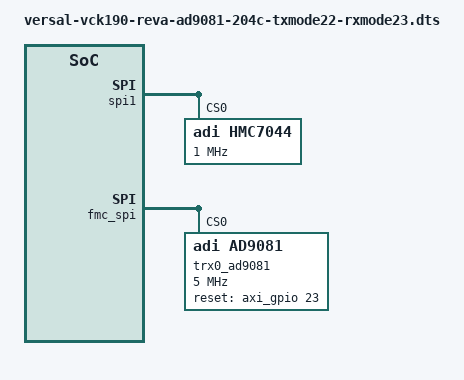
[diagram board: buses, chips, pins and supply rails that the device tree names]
// SPDX-License-Identifier: GPL-2.0
/*
 * Analog Devices AD9081-FMC-EBZ
 * https://wiki.analog.com/resources/tools-software/linux-drivers/iio-mxfe/ad9081
 * https://wiki.analog.com/resources/eval/user-guides/ad9081_fmca_ebz/ad9081_fmca_ebz_hdl
 *
 * hdl_project: <ad9081_fmca_ebz/vck190>
 * board_revision: <>
 *
 * Copyright (C) 2019-2020 Analog Devices Inc.
 */

/*
 * 204C use case with Subclass 0,
 * Med. lane rate, using gearbox and PRGOGDIV
 *   1Txs / 1Rxs per MxFE
 *   DAC_CLK = 11.52 GSPS
 *   ADC_CLK = 3.84 GSPS
 *   Tx I/Q Rate: 960 MSPS (Interpolation of 12x1)
 *   Rx I/Q Rate: 960 MSPS (Decimation of 4x1)
 *   DAC JESD204C: Mode 22, L=2, M=2, N=N'=12
 *   ADC JESD204C: Mode 23.00, L=2, M=2, N=N'=12
 *   DAC-Side JESD204C Lane Rate: 11.88 Gbps
 *   ADC-Side JESD204C Lane Rate: 11.88 Gbps
 */

#include "versal-vck190-reva-ad9081.dts"

/ {
	fpga_axi: fpga-axi@0 {
		clocks {
			rx_fixed_linerate: clock@0 {
				#clock-cells = <0>;
				compatible = "fixed-clock";
				clock-frequency = <11880000>;
				clock-output-names = "rx_lane_clk";
			};

			tx_fixed_linerate: clock@1 {
				#clock-cells = <0>;
				compatible = "fixed-clock";
				clock-frequency = <11880000>;
				clock-output-names = "tx_lane_clk";
			};

			rx_fixed_link_clk: clock@2 {
				#clock-cells = <0>;
				compatible = "fixed-clock";
				clock-frequency = <180000000>;
				clock-output-names = "rx_link_clk";
			};

			tx_fixed_link_clk: clock@3 {
				#clock-cells = <0>;
				compatible = "fixed-clock";
				clock-frequency = <180000000>;
				clock-output-names = "tx_link_clk";
			};
		};
	};
};

&spi1 {
	status = "okay";

	/delete-node/ hmc7044@0;

	hmc7044: hmc7044@0 {
		#address-cells = <1>;
		#size-cells = <0>;
		#clock-cells = <1>;
		compatible = "adi,hmc7044";
		reg = <0>;
		spi-max-frequency = <1000000>;

		jesd204-device;
		#jesd204-cells = <2>;
		jesd204-sysref-provider;

		adi,jesd204-max-sysref-frequency-hz = <2000000>; /* 2 MHz */

		/*
		 * There are different versions of the AD9081-FMCA-EBZ & AD9082-FMCA-EBZ
		 * VCXO = 122.880 MHz, XO = 122.880MHz (AD9081-FMC-EBZ & AD9082-FMC-EBZ)
		 * VCXO = 100.000 MHz, XO = 100.000MHz (AD9081-FMC-EBZ-A2 & AD9082-FMC-EBZ-A2)
		 * To determine which board is which, read the freqency printed on the VCXO
		 * or use the fru-dump utility:
		 * #fru-dump -b /sys/bus/i2c/devices/15-0050/eeprom
		 */

		//adi,pll1-clkin-frequencies = <122880000 30720000 0 0>;
		//adi,vcxo-frequency = <122880000>;

		adi,pll1-clkin-frequencies = <100000000 10000000 0 0>;
		adi,vcxo-frequency = <100000000>;

		adi,pll1-loop-bandwidth-hz = <200>;

		adi,pll2-output-frequency = <2880000000>;

		adi,sysref-timer-divider = <1024>;
		adi,pulse-generator-mode = <0>;

		adi,clkin0-buffer-mode  = <0x07>;
		adi,clkin1-buffer-mode  = <0x07>;
		adi,oscin-buffer-mode = <0x15>;

		adi,gpi-controls = <0x00 0x00 0x00 0x00>;
		adi,gpo-controls = <0x37 0x33 0x00 0x00>;

		clock-output-names =
			"hmc7044_out0", "hmc7044_out1", "hmc7044_out2",
			"hmc7044_out3", "hmc7044_out4", "hmc7044_out5",
			"hmc7044_out6", "hmc7044_out7", "hmc7044_out8",
			"hmc7044_out9", "hmc7044_out10", "hmc7044_out11",
			"hmc7044_out12", "hmc7044_out13";

		hmc7044_c0: channel@0 {
			reg = <0>;
			adi,extended-name = "CORE_CLK_RX";
			adi,divider = <48>;
			adi,driver-mode = <HMC7044_DRIVER_MODE_LVDS>;

		};
		hmc7044_c2: channel@2 {
			reg = <2>;
			adi,extended-name = "DEV_REFCLK";
			adi,divider = <4>; /* 720 MHz */
			adi,driver-mode = <HMC7044_DRIVER_MODE_LVDS>;
		};

		hmc7044_c3: channel@3 {
			reg = <3>;
			adi,extended-name = "DEV_SYSREF";
			adi,divider = <768>;
			adi,driver-mode = <HMC7044_DRIVER_MODE_LVDS>;
			//adi,jesd204-sysref-chan;
			adi,disable; /* Completely disable channel */
		};

		hmc7044_c6: channel@6 {
			reg = <6>;
			adi,extended-name = "CORE_CLK_TX";
			adi,divider = <24>;
			adi,driver-mode = <HMC7044_DRIVER_MODE_LVDS>;
		};

		hmc7044_c8: channel@8 {
			reg = <8>;
			adi,extended-name = "FPGA_REFCLK1";
			adi,divider = <64>;
			adi,driver-mode = <HMC7044_DRIVER_MODE_LVDS>;
			adi,disable; /* Completely disable channel */
		};

		hmc7044_c10: channel@10 {
			reg = <10>;
			adi,extended-name = "CORE_CLK_RX_ALT";
			adi,divider = <24>;
			adi,driver-mode = <HMC7044_DRIVER_MODE_LVDS>;
		};

		hmc7044_c12: channel@12 {
			reg = <12>;
			adi,extended-name = "FPGA_REFCLK2";
			adi,divider = <8>;
			adi,driver-mode = <HMC7044_DRIVER_MODE_LVDS>;
		};

		hmc7044_c13: channel@13 {
			reg = <13>;
			adi,extended-name = "FPGA_SYSREF";
			adi,divider = <768>;
			adi,driver-mode = <HMC7044_DRIVER_MODE_LVDS>;
			//adi,jesd204-sysref-chan;
			adi,disable; /* Completely disable channel */
		};
	};
};

&fmc_spi {
	/delete-node/ ad9081@0;

	trx0_ad9081: ad9081@0 {
		#address-cells = <1>;
		#size-cells = <0>;
		compatible = "adi,ad9081";
		reg = <0>;
		spi-max-frequency = <5000000>;

		reset-gpios = <&axi_gpio 23 0>;

		/* Clocks */
		clocks = <&hmc7044 2>;
		clock-names = "dev_clk";

		clock-output-names = "rx_sampl_clk", "tx_sampl_clk";
		#clock-cells = <1>;

		jesd204-device;
		#jesd204-cells = <2>;
		jesd204-top-device = <0>; /* This is the TOP device */
		jesd204-link-ids = <FRAMER_LINK0_RX DEFRAMER_LINK0_TX>;

		jesd204-inputs =
			<&axi_ad9081_core_rx 0 FRAMER_LINK0_RX>,
			<&axi_ad9081_core_tx 0 DEFRAMER_LINK0_TX>;

		adi,continuous-sysref-mode-disable;

		adi,tx-dacs {
			#size-cells = <0>;
			#address-cells = <1>;

			adi,dac-frequency-hz = /bits/ 64 <11520000000>;

			adi,main-data-paths {
				#address-cells = <1>;
				#size-cells = <0>;

				adi,interpolation = <12>;

				ad9081_dac0: dac@0 {
					reg = <0>;
					adi,crossbar-select = <&ad9081_tx_fddc_chan0>;
					adi,nco-frequency-shift-hz = /bits/ 64 <1000000000>; /* 1000 MHz */
				};
			};

			adi,channelizer-paths {
				#address-cells = <1>;
				#size-cells = <0>;
				adi,interpolation = <1>;

				ad9081_tx_fddc_chan0: channel@0 {
					reg = <0>;
					adi,gain = <2048>; /* 2048 * 10^(gain_dB/20) */
					adi,nco-frequency-shift-hz =  /bits/ 64 <0>;

				};
			};

			adi,jesd-links {
				#size-cells = <0>;
				#address-cells = <1>;

				ad9081_tx_jesd_l0: link@0 {
					#address-cells = <1>;
					#size-cells = <0>;
					reg = <0>;

					adi,logical-lane-mapping = /bits/ 8 <0 2 7 7 1 7 7 3>;

					adi,link-mode = <22>;			/* JESD Quick Configuration Mode */
					adi,subclass = <0>;			/* JESD SUBCLASS 0,1,2 */
					adi,version = <2>;			/* JESD VERSION 0=204A,1=204B,2=204C */
					adi,dual-link = <0>;			/* JESD Dual Link Mode */

					adi,converters-per-device = <2>;	/* JESD M */
					adi,octets-per-frame = <3>;		/* JESD F */

					adi,frames-per-multiframe = <256>;	/* JESD K */
					adi,converter-resolution = <12>;	/* JESD N */
					adi,bits-per-sample = <12>;		/* JESD NP' */
					adi,control-bits-per-sample = <0>;	/* JESD CS */
					adi,lanes-per-device = <2>;		/* JESD L */
					adi,samples-per-converter-per-frame = <2>; /* JESD S */
					adi,high-density = <0>;			/* JESD HD */
				};
			};
		};

		adi,rx-adcs {
			#size-cells = <0>;
			#address-cells = <1>;

			adi,adc-frequency-hz = /bits/ 64 <3840000000>;

			adi,main-data-paths {
				#address-cells = <1>;
				#size-cells = <0>;

				ad9081_adc0: adc@0 {
					reg = <0>;
					adi,decimation = <4>;
					adi,nco-frequency-shift-hz =  /bits/ 64 <400000000>;
					adi,nco-mixer-mode = <AD9081_ADC_NCO_VIF>;
				};
			};

			adi,channelizer-paths {
				#address-cells = <1>;
				#size-cells = <0>;

				ad9081_rx_fddc_chan0: channel@0 {
					reg = <0>;
					adi,decimation = <1>;
					adi,gain = <2048>; /* 2048 * 10^(gain_dB/20) */
					adi,nco-frequency-shift-hz =  /bits/ 64 <0>;

				};
			};

			adi,jesd-links {
				#size-cells = <0>;
				#address-cells = <1>;

				ad9081_rx_jesd_l0: link@0 {
					reg = <0>;
					adi,converter-select =
						<&ad9081_rx_fddc_chan0 FDDC_I>, <&ad9081_rx_fddc_chan0 FDDC_Q>;

					adi,logical-lane-mapping = /bits/ 8 <2 0 7 7 7 7 3 1>;

					adi,link-mode = <23>;			/* JESD Quick Configuration Mode */
					adi,subclass = <0>;			/* JESD SUBCLASS 0,1,2 */
					adi,version = <2>;			/* JESD VERSION 0=204A,1=204B,2=204C */
					adi,dual-link = <0>;			/* JESD Dual Link Mode */

					adi,converters-per-device = <2>;	/* JESD M */
					adi,octets-per-frame = <6>;		/* JESD F */

					adi,frames-per-multiframe = <128>;	/* JESD K */
					adi,converter-resolution = <12>;	/* JESD N */
					adi,bits-per-sample = <12>;		/* JESD NP' */
					adi,control-bits-per-sample = <0>;	/* JESD CS */
					adi,lanes-per-device = <2>;		/* JESD L */
					adi,samples-per-converter-per-frame = <4>; /* JESD S */
					adi,high-density = <0>;			/* JESD HD */
				};
			};
		};
	};
};
